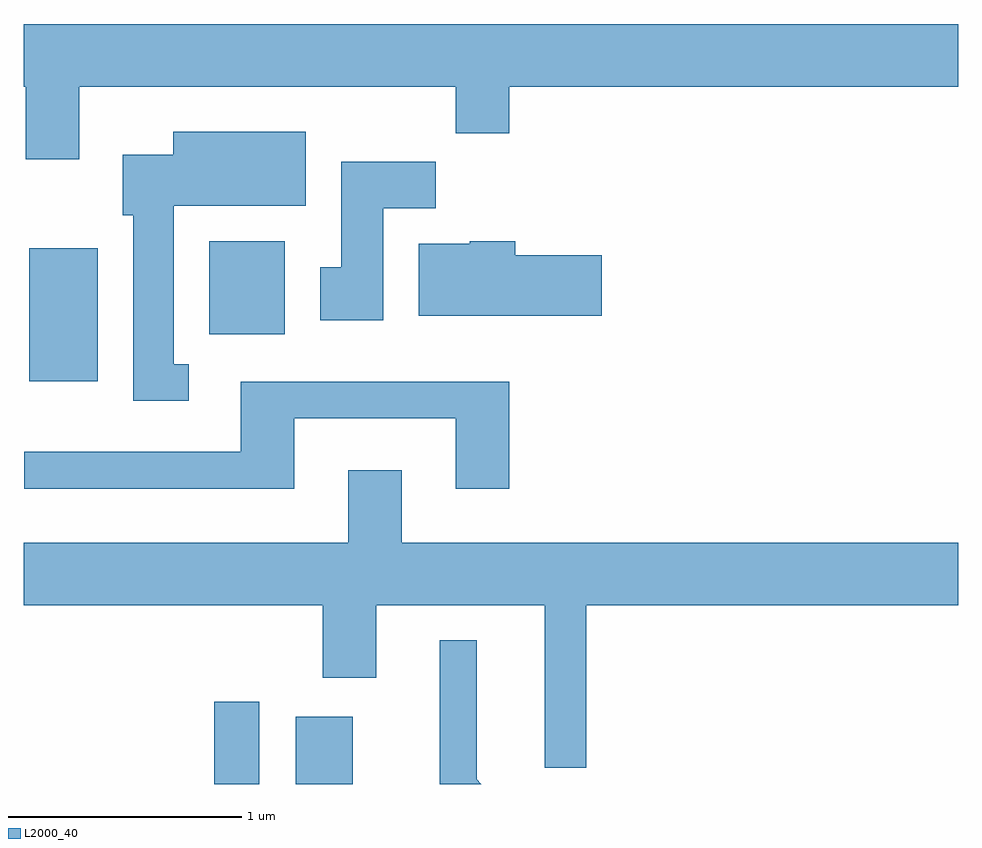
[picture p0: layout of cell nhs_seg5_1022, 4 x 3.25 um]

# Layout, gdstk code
import gdstk
lib = gdstk.Library(unit=1e-6, precision=1e-09)
def R(c, l, rs):  # rectangles x0, y0, x1, y1
    for r in rs: c.add(gdstk.rectangle(r[:2], r[2:], *l))
def P(c, l, *ps):  # polygons
    for p in ps: c.add(gdstk.Polygon(p, *l))
L2000_40 = (2000, 40)

nhs_seg5_1022 = lib.new_cell('nhs_seg5_1022')
R(nhs_seg5_1022, L2000_40, [(216.426,1416.072,216.619,1416.424), (216.776,1416.072,217.019,1416.359), (215.636,1417.796,215.929,1418.364), (216.406,1417.996,216.729,1418.394)])
P(nhs_seg5_1022, L2000_40, [(215.849,1419.056),(217.461,1419.056),(217.461,1418.856),(217.689,1418.856),(217.689,1419.056),(219.611,1419.056),(219.611,1419.324),(215.611,1419.324),(215.611,1419.056),(215.621,1419.056),(215.621,1418.746),(215.849,1418.746)],
  [(216.318,1417.869),(216.254,1417.869),(216.254,1418.546),(216.819,1418.546),(216.819,1418.864),(216.251,1418.864),(216.251,1418.764),(216.036,1418.764),(216.036,1418.506),(216.081,1418.506),(216.081,1417.711),(216.318,1417.711)],
  [(217.149,1418.536),(217.374,1418.536),(217.374,1418.734),(216.971,1418.734),(216.971,1418.284),(216.881,1418.284),(216.881,1418.056),(217.149,1418.056)],
  [(218.084,1418.334),(217.714,1418.334),(217.714,1418.394),(217.52,1418.394),(217.52,1418.384),(217.301,1418.384),(217.301,1418.076),(218.084,1418.076)],
  [(216.769,1417.636),(217.461,1417.636),(217.461,1417.336),(217.689,1417.336),(217.689,1417.794),(216.541,1417.794),(216.541,1417.494),(215.613,1417.494),(215.613,1417.336),(216.769,1417.336)],
  [(218.019,1416.836),(219.611,1416.836),(219.611,1417.104),(217.229,1417.104),(217.229,1417.414),(217.001,1417.414),(217.001,1417.104),(215.611,1417.104),(215.611,1416.836),(216.891,1416.836),(216.891,1416.526),(217.119,1416.526),(217.119,1416.836),(217.841,1416.836),(217.841,1416.141),(218.019,1416.141)],
  [(217.549,1416.092),(217.549,1416.688),(217.391,1416.688),(217.391,1416.072),(217.569,1416.072)])

lib.write_gds('nhs_seg5_1022.gds')
